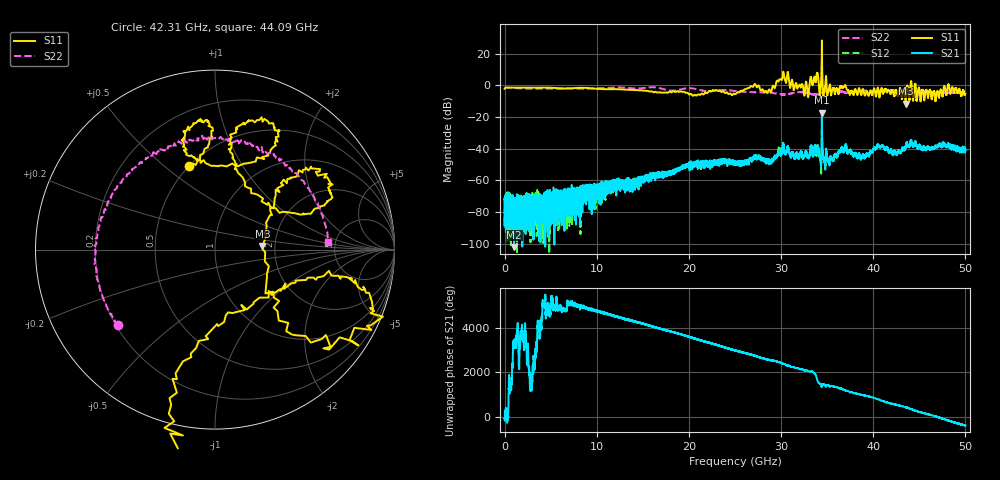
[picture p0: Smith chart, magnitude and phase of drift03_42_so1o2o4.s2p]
!Created with skrf (http://scikit-rf.org).
# Hz S RI R 50.0
!freq ReS11 ImS11 ReS21 ImS21 ReS12 ImS12 ReS22 ImS22
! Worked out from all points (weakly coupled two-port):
!   10000 points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, 5.3 MHz to 50 GHz, reference 50 ohm
!   highest |S21| = -17.22 dB at 34.43 GHz (marker M1); lowest = -102.1 dB at 1.03 GHz (marker M2)
!   lowest |S11| = -11.5 dB at 43.52 GHz (marker M3), VSWR 1.72, Z = 85.8 + j3.84 ohm
!   |S11| at or under -10 dB: 43.49056 GHz to 43.54034 GHz (49.78 MHz wide, 0.114 % of centre); 45.13897 GHz to 45.14072 GHz (1.75 MHz wide, 0.00388 % of centre)
!   |S22| runs from -5.8 to -1.1 dB; largest |S21 - S12| = 0.033
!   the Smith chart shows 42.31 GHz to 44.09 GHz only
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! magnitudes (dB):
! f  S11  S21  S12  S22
! 5.3 MHz  -2.1  -84.4  -70.7  -1.3
! 1.03 GHz  -1.4  -102.1  -78.4  -1.6
! 4.97 GHz  -1.4  -76.3  -78.6  -2.1
! 8.34 GHz  -1.5  -66.2  -71.1  -2.1
! 16.67 GHz  -4.4  -56.2  -56.2  -1.5
! 20.46 GHz  -6.5  -50.4  -52.7  -1.9
! 25.01 GHz  -5.5  -49.0  -49.2  -3.5
! 27.02 GHz  -0.3  -45.7  -45.8  -4.2
! 28.72 GHz  -2.5  -48.0  -49.0  -4.5
! 30.14 GHz  4.4  -40.5  -40.8  -5.7
! 32.74 GHz  2.0  -42.6  -42.2  -4.6
! 33.34 GHz  2.6  -39.5  -40.2  -5.6
! 33.82 GHz  4.0  -41.4  -42.1  -5.7
! 34.43 GHz  28.4  -17.2  -18.9  -4.6
! 35.3 GHz  0.6  -47.7  -46.7  -3.3
! 36.84 GHz  -0.7  -41.8  -41.7  -4.3
! 38.86 GHz  -2.5  -43.9  -44.3  -3.2
! 40.6 GHz  -4.2  -38.2  -38.3  -4.0
! 41.67 GHz  -3.0  -41.8  -42.6  -3.3
! 43.52 GHz  -11.5  -39.0  -39.2  -4.1
! 48.32 GHz  -4.4  -37.3  -38.1  -4.5
! 50 GHz  -5.2  -40.5  -40.8  -4.6
